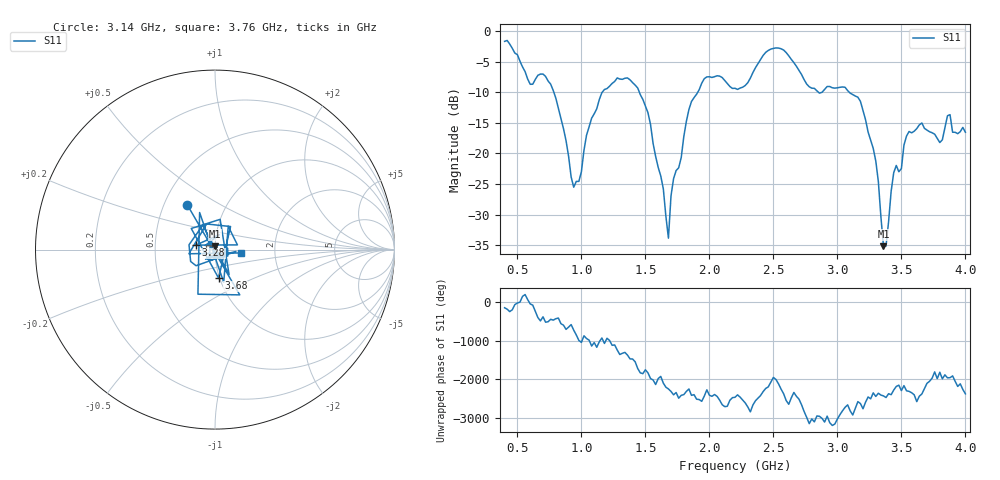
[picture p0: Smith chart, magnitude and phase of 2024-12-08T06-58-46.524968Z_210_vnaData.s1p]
!Created with skrf (http://scikit-rf.org).
# Hz S RI R 50.0
!freq ReS11 ImS11
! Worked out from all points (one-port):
!   181 points, 400 MHz to 4 GHz, reference 50 ohm
!   lowest |S11| = -35.1 dB at 3.36 GHz (marker M1), VSWR 1.04, Z = 50 + j1.75 ohm
!   |S11| at or under -10 dB: 784.4 MHz to 1.163 GHz (378.8 MHz wide, 38.9 % of centre); 1.453 GHz to 1.909 GHz (456.6 MHz wide, 27.2 % of centre); 3.092 GHz to end of sweep (the widest 3 of 4)
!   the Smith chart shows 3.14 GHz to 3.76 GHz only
!   S11 on the Smith chart (normalised r, x): 3.14 GHz: 0.65, +0.36; 3.28 GHz: 0.81, +0.04; 3.68 GHz: 0.99, -0.32; 3.76 GHz: 1.33, -0.05
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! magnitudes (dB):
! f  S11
! 400 MHz  -1.7
! 600 MHz  -8.7
! 720 MHz  -7.4
! 860 MHz  -16.0
! 940 MHz  -25.5
! 1.16 GHz  -10.1
! 1.3 GHz  -7.9
! 1.52 GHz  -13.4
! 1.64 GHz  -25.8
! 1.68 GHz  -33.8
! 1.7 GHz  -26.9
! 1.76 GHz  -22.4
! 1.84 GHz  -12.8
! 1.96 GHz  -7.8
! 2.2 GHz  -9.4
! 2.48 GHz  -3.0
! 2.66 GHz  -5.2
! 3.1 GHz  -10.2
! 3.14 GHz  -10.6
! 3.28 GHz  -19.2
! 3.36 GHz  -35.1
! 3.38 GHz  -35.1
! 3.44 GHz  -23.1
! 3.56 GHz  -16.4
! 3.68 GHz  -15.9
! 3.76 GHz  -16.9
! 3.88 GHz  -13.7
! 4 GHz  -16.5
